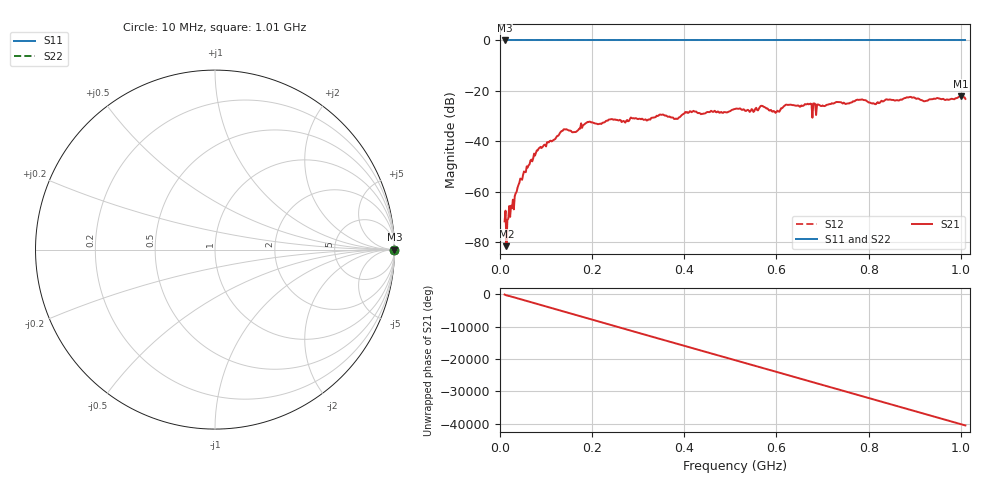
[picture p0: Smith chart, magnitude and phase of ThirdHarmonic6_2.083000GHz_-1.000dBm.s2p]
! 8/17/2025 12:56:30 AM
! C:\ANRITSUVNA\TEMP\TEMP.S2P
! CHANNEL.1
! TR.MEASUREMENT
! RAW.DATA
! RF.CORRECTION.OFF
! AVERAGING.OFF
! IF.BANDWIDTH: 5KHZ
! SWEEPTYPE:  FREQ.SWEEP(Linear)
! Reference Plane Port Info
! PORT:  PORT1  PORT2
! DISTANCE:  0  m  0  m
! TIME:  0  s  0  s
! PHASE.OFFSET:  0  deg.  0  deg.
! LOSS:  0  dB  0  dB
! REF.LOSS:  0  dB  0  dB
! REF.FREQ:  0  Hz  0  Hz
! Power Info
! POWER:  -20  dBm  -20  dBm
! EFF.POWER:  -20  dBm  -20  dBm
! SOURCE.ATTEN:  0  dB  0  dB
! TEST.ATTEN:  0  dB  0  dB
# GHZ S RI R 50.0
! FREQ.GHZ  S11RE  S11IM  S21RE  S21IM  S12RE  S12IM  S22RE  S22IM
!; PortSelection: Port_12
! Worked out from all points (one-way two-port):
!   501 points, 10 MHz to 1.01 GHz, reference 50 ohm
!   highest |S21| = -22.06 dB at 1 GHz (marker M1); lowest = -81.5 dB at 14 MHz (marker M2)
!   lowest |S11| = 0.0 dB at 10 MHz (marker M3)
!   |S11| at or under -10 dB: nowhere
!   |S22| runs from 0.0 to 0.0 dB; largest |S21 - S12| = 1.1
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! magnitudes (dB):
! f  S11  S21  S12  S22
! 10 MHz  0.0  -71.7  0.0  0.0
! 14 MHz  0.0  -81.5  0.0  0.0
! 18 MHz  0.0  -70.7  0.0  0.0
! 20 MHz  0.0  -65.6  0.0  0.0
! 42 MHz  0.0  -56.4  0.0  0.0
! 84 MHz  0.0  -42.8  0.0  0.0
! 136 MHz  0.0  -35.8  0.0  0.0
! 162 MHz  0.0  -36.3  0.0  0.0
! 178 MHz  0.0  -34.6  0.0  0.0
! 322 MHz  0.0  -31.3  0.0  0.0
! 344 MHz  0.0  -29.8  0.0  0.0
! 382 MHz  0.0  -30.9  0.0  0.0
! 416 MHz  0.0  -28.4  0.0  0.0
! 510 MHz  0.0  -27.2  0.0  0.0
! 546 MHz  0.0  -27.2  0.0  0.0
! 570 MHz  0.0  -26.0  0.0  0.0
! 596 MHz  0.0  -28.2  0.0  0.0
! 624 MHz  0.0  -25.5  0.0  0.0
! 678 MHz  0.0  -30.6  0.0  0.0
! 844 MHz  0.0  -23.5  0.0  0.0
! 1 GHz  0.0  -22.1  0.0  0.0
! 1.01 GHz  0.0  -23.2  0.0  0.0
